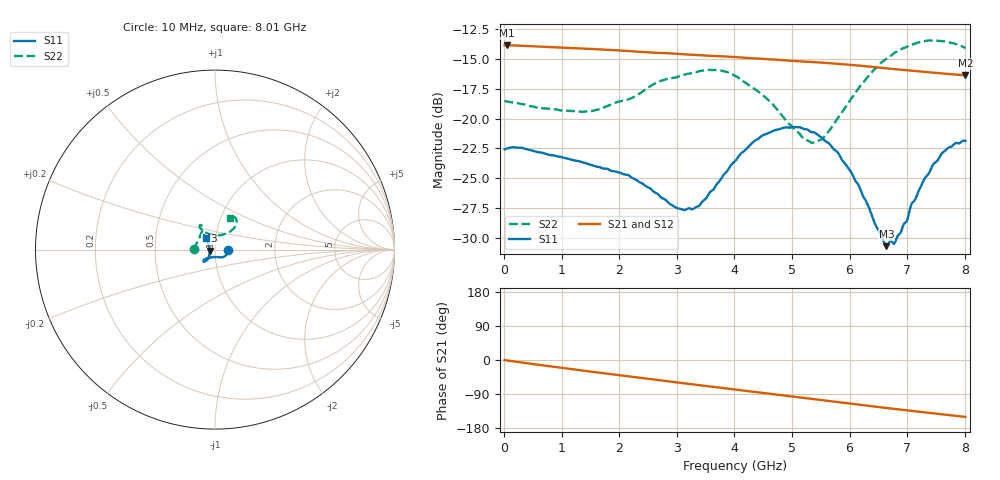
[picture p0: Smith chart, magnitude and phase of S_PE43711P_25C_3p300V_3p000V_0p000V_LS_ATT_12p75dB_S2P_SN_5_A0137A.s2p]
! Device ID: PE43711P
! File Path: z:\PE43711P\CHAR_NOM_04282014\AMB\3p300\LS_ATT_12p75dB\PE43711P_AMB_3p300V_3p000V_0p000V_LS_ATT_12p75dB_S2P_SN_5_A0137A.s2p
! Serial: 5
! Lot: A0137A
! Temp: 25C
! VDD: 3.300
! VSS: 0.000
! Control_Hi: 3.000
! Control_Lo: 0.000
! Attenuation Step: 12.75dB
! Port 1: RF1
! Port 2: RF2
! ThroughPath:1-2
! IDD: 0.0001276669
! ISS: -2.24e-008
#  Hz  S  RI  R  50
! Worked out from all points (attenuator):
!   801 points, 10 MHz to 8.01 GHz, reference 50 ohm
!   highest |S21| = -13.89 dB at 50 MHz (marker M1); lowest = -16.4 dB at 8.01 GHz (marker M2)
!   lowest |S11| = -30.6 dB at 6.64 GHz (marker M3), VSWR 1.06, Z = 47.2 - j0.637 ohm
!   |S11| at or under -10 dB: start of sweep to end of sweep
!   |S22| runs from -22.0 to -13.5 dB; largest |S21 - S12| = 0.00042
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1e7  0.0743 -9.67e-05  0.2021 -0.000906  0.2024 -0.00106  -0.1185 0.000868
5e7  0.075 -0.00126  0.2021 -0.004  0.2022 -0.00398  -0.1177 0.00299
1.35e9  0.0541 -0.0375  0.1737 -0.0905  0.1738 -0.0906  -0.0939 0.0505
2.15e9  0.0379 -0.0441  0.1395 -0.1307  0.1397 -0.1308  -0.0763 0.0925
2.68e9  0.023 -0.0423  0.1128 -0.1501  0.1128 -0.1502  -0.0725 0.1225
3e9  0.00938 -0.0413  0.0955 -0.1598  0.0956 -0.1598  -0.0735 0.1292
3.3e9  -0.00572 -0.0418  0.0786 -0.1665  0.0786 -0.1666  -0.0766 0.1357
3.69e9  -0.0287 -0.0447  0.0565 -0.173  0.0564 -0.1731  -0.0835 0.1355
4.01e9  -0.0456 -0.0483  0.0376 -0.1764  0.0375 -0.1765  -0.085 0.1245
4.34e9  -0.059 -0.0545  0.0183 -0.1773  0.0183 -0.1774  -0.0737 0.1111
4.69e9  -0.0644 -0.0615  -0.00186 -0.176  -0.00197 -0.176  -0.0563 0.0976
5.08e9  -0.063 -0.067  -0.0235 -0.1718  -0.0236 -0.1719  -0.0248 0.0849
5.35e9  -0.0577 -0.066  -0.0379 -0.1677  -0.038 -0.1679  0.00206 0.0791
5.56e9  -0.0511 -0.0631  -0.049 -0.1636  -0.049 -0.1636  0.0259 0.0799
6.01e9  -0.0373 -0.0476  -0.0709 -0.1516  -0.0712 -0.1516  0.0729 0.0942
6.64e9  -0.0286 -0.00674  -0.0966 -0.1298  -0.0966 -0.1301  0.1151 0.1352
6.68e9  -0.03 -0.00334  -0.098 -0.1285  -0.0979 -0.1287  0.116 0.1388
6.86e9  -0.0317 0.00857  -0.1039 -0.1216  -0.1038 -0.1217  0.1195 0.1502
7.08e9  -0.0365 0.025  -0.1105 -0.1131  -0.1106 -0.1133  0.1193 0.1646
7.46e9  -0.0443 0.0471  -0.1205 -0.0977  -0.1206 -0.0978  0.1076 0.1819
7.7e9  -0.0493 0.0566  -0.1257 -0.0879  -0.1257 -0.0878  0.0956 0.1858
8.01e9  -0.0507 0.0628  -0.1315 -0.0751  -0.1318 -0.0747  0.0829 0.1785
